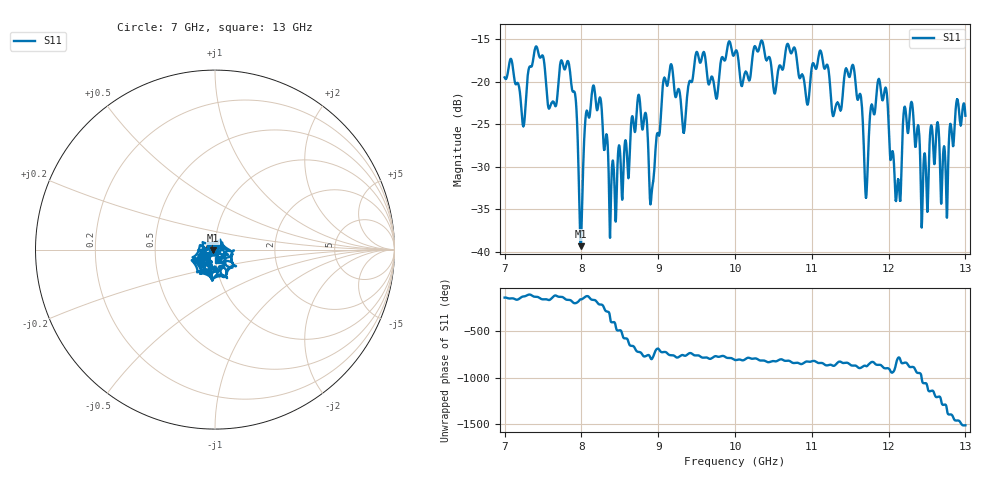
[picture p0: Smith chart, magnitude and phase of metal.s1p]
[Version] 2.0
! Rohde & Schwarz Vector Network Analyzer
! Rohde-Schwarz,ZNL20-2Port,1323001220200009,1.71.1.10-23.02.1.238
! Trace info:
! Nominal Param -> Actual Exported Buffer
! S11 -> S22
! Created: GMT+3 2024-09-24 16:25:37
# Hz S DB R 50
[Number of Ports] 1
! freq[Hz]  S11[mag dB]  S11[ang]
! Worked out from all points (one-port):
!   6001 points, 7 GHz to 13 GHz, reference 50 ohm
!   lowest |S11| = -39.3 dB at 7.99 GHz (marker M1), VSWR 1.02, Z = 49 - j0.458 ohm
!   |S11| at or under -10 dB: start of sweep to end of sweep
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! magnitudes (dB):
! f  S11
! 7 GHz  -19.5
! 7.244 GHz  -25.2
! 7.405 GHz  -15.9
! 7.587 GHz  -23.1
! 7.75 GHz  -17.6
! 7.917 GHz  -21.4
! 7.99 GHz  -39.3
! 8.056 GHz  -24.1
! 8.153 GHz  -20.5
! 8.375 GHz  -37.9
! 8.5 GHz  -27.9
! 8.748 GHz  -21.6
! 8.914 GHz  -33.1
! 9.075 GHz  -19.6
! 9.25 GHz  -21.1
! 10 GHz  -16.6
! 10.75 GHz  -16.3
! 10.94 GHz  -22.7
! 11.12 GHz  -16.4
! 11.29 GHz  -23.9
! 11.5 GHz  -19.2
! 11.64 GHz  -21.7
! 11.71 GHz  -33.6
! 11.87 GHz  -19.7
! 12.12 GHz  -31.8
! 12.25 GHz  -26.0
! 12.44 GHz  -34.4
! 13 GHz  -24.0
